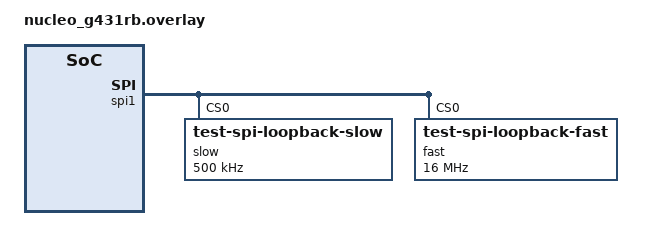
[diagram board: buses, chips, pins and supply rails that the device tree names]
/*
 * Copyright (c) 2021 Thomas Stranger
 *
 * SPDX-License-Identifier: Apache-2.0
 */

&spi1 {
	dmas = <&dmamux1 0 11 (STM32_DMA_PERIPH_TX | STM32_DMA_PRIORITY_HIGH)
		&dmamux1 1 10 (STM32_DMA_PERIPH_RX | STM32_DMA_PRIORITY_HIGH)>;
	dma-names = "tx", "rx";
	slow@0 {
		compatible = "test-spi-loopback-slow";
		reg = <0>;
		spi-max-frequency = <DT_FREQ_K(500)>;
	};
	fast@0 {
		compatible = "test-spi-loopback-fast";
		reg = <0>;
		spi-max-frequency = <DT_FREQ_M(16)>;
	};
};

&dma1 {
	status = "okay";
};

&dmamux1 {
	status = "okay";
};

&rcc {
	/*
	 * Reduce bus clock speed to be able to reach
	 * SPI_LOOPBACK_SLOW_FREQ = 500000 with max prescaler 256
	 */
	apb2-prescaler = <2>;
};
